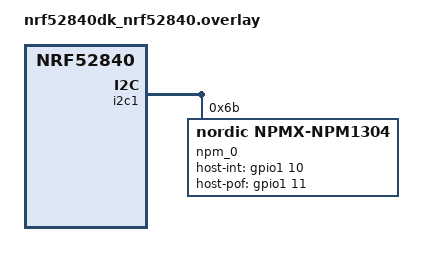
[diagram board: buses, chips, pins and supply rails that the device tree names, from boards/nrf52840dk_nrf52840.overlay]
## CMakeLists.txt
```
#
# Copyright (c) 2023 Nordic Semiconductor ASA
#
# SPDX-License-Identifier: BSD-3-Clause
#

cmake_minimum_required(VERSION 3.20.0)
find_package(Zephyr REQUIRED HINTS $ENV{ZEPHYR_BASE})
project(pmic_pof)

FILE(GLOB app_sources src/*.c)
target_sources(app PRIVATE ${app_sources})
```

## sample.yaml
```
#
# Copyright (c) 2023 Nordic Semiconductor ASA
#
# SPDX-License-Identifier: BSD-3-Clause
#

sample:
  description: POF sample
  name: POF

common:
  integration_platforms:
    - nrf5340dk/nrf5340/cpuapp
    - nrf52840dk/nrf52840
  platform_allow:
    - nrf5340dk/nrf5340/cpuapp
    - nrf52840dk/nrf52840
  tags: pmic
  timeout: 30

tests:
  sample.pof:
    harness: console
    harness_config:
      fixture: nPM130x_setup
      type: multi_line
      ordered: true
      regex:
        - "PMIC device OK."
        - "Successfully registered callback."
```

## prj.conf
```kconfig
#
# Copyright (c) 2023 Nordic Semiconductor ASA
#
# SPDX-License-Identifier: BSD-3-Clause
#

CONFIG_SERIAL=y
CONFIG_CONSOLE=y
CONFIG_UART_CONSOLE=y

CONFIG_I2C=y
CONFIG_NPMX=y
CONFIG_NPMX_DEVICE_NPM1300_ENG_B=y
CONFIG_LOG=y
CONFIG_NPMX_LOG_LEVEL_DBG=y
CONFIG_SHELL=y
CONFIG_ASSERT=y

# Core Dump configuraion
CONFIG_DEBUG_COREDUMP=y
CONFIG_DEBUG_COREDUMP_BACKEND_LOGGING=y
```

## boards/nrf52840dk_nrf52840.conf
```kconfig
#
# Copyright (c) 2023 Nordic Semiconductor ASA
#
# SPDX-License-Identifier: BSD-3-Clause
#
```

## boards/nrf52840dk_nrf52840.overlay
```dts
/*
 * Copyright (c) 2023 Nordic Semiconductor ASA
 *
 * SPDX-License-Identifier: BSD-3-Clause
 */

&i2c1 {
	compatible = "nordic,nrf-twim";
	status = "okay";

	npm_0: npm1304@6b {
		status = "okay";
		compatible = "nordic,npmx-npm1304";
		reg = <0x6b>;
		host-int-gpios = <&gpio1 10 (GPIO_PULL_DOWN | GPIO_ACTIVE_HIGH)>;
		pmic-int-pin = <0>;
		host-pof-gpios = <&gpio1 11 (GPIO_PULL_DOWN | GPIO_ACTIVE_HIGH)>;
		pmic-pof-pin = <1>;
	};
};

&i2c1_default {
	group1 {
		psels = <NRF_PSEL(TWIM_SDA, 0, 26)>, <NRF_PSEL(TWIM_SCL, 0, 27)>;
		bias-pull-up;
	};
};
```

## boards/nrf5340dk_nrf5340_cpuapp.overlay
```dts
/*
 * Copyright (c) 2023 Nordic Semiconductor ASA
 *
 * SPDX-License-Identifier: BSD-3-Clause
 */

&i2c1 {
	compatible = "nordic,nrf-twim";
	status = "okay";

	npm_0: npm1300@6b {
		status = "okay";
		compatible = "nordic,npmx-npm1300";
		reg = <0x6b>;
		host-int-gpios = <&gpio1 10 (GPIO_PULL_DOWN | GPIO_ACTIVE_HIGH)>;
		pmic-int-pin = <0>;
		host-pof-gpios = <&gpio1 11 (GPIO_PULL_DOWN | GPIO_ACTIVE_HIGH)>;
		pmic-pof-pin = <1>;
	};
};

&i2c1_default {
	group1 {
		bias-pull-up;
	};
};
```

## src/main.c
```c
/*
 * Copyright (c) 2023 Nordic Semiconductor ASA
 *
 * SPDX-License-Identifier: BSD-3-Clause
 */

#include <zephyr/logging/log.h>
#include <npmx_driver.h>
#include <npmx_led.h>

#define LOG_MODULE_NAME pof
LOG_MODULE_REGISTER(LOG_MODULE_NAME);

/**
 * @brief Function called when battery voltage drops below the configured threshold.
 *
 * @param[in] p_pm Pointer to the instance of PMIC device.
 */
void my_pof_callback(npmx_instance_t *p_pm)
{
	LOG_INF("POF callback.");
}

int main(void)
{
	const struct device *pmic_dev = DEVICE_DT_GET(DT_NODELABEL(npm_0));

	if (!device_is_ready(pmic_dev)) {
		LOG_INF("PMIC device is not ready.");
		return 0;
	}

	LOG_INF("PMIC device OK.");

	/* Set configuration for the power fail comparator. */
	npmx_pof_config_t config = {
		.status = NPMX_POF_STATUS_ENABLE,
		.threshold = NPMX_POF_THRESHOLD_3V0,
		.polarity = NPMX_POF_POLARITY_HIGH,
	};

	/* Configure and register a callback. */
	if (npmx_driver_register_pof_cb(pmic_dev, &config, my_pof_callback) == 0) {
		LOG_INF("Successfully registered callback.");
	}

	return 0;
}
```
